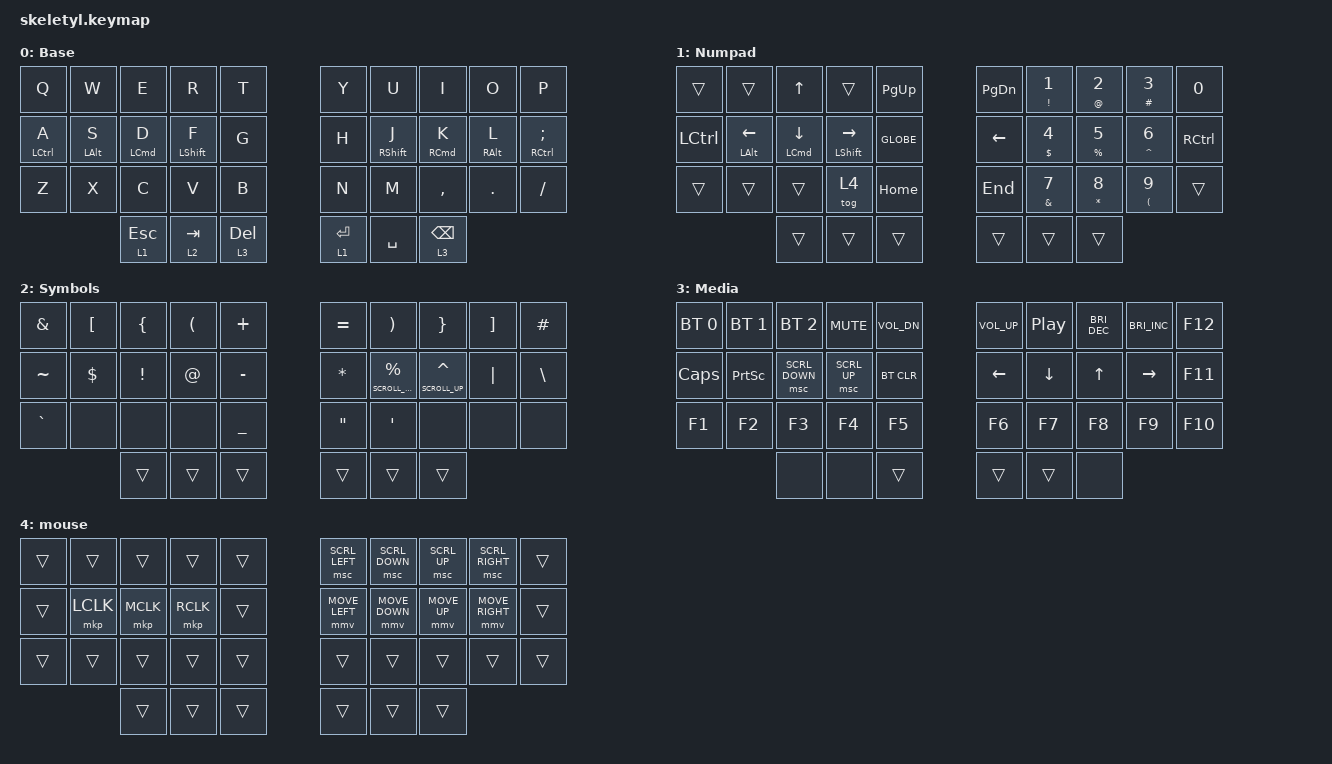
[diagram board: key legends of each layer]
#include <dt-bindings/zmk/behaviors.h>
#include <behaviors.dtsi>
#include <dt-bindings/zmk/bt.h>
#include <dt-bindings/zmk/keys.h>
#include <dt-bindings/zmk/pointing.h>

&lt {
    tapping-term-ms = <240>;
    flavor = "balanced";
    quick-tap-ms = <150>;
};

/ {
    behaviors {
        mt: mod_tap {
            compatible = "zmk,behavior-hold-tap";
            #binding-cells = <2>;
            flavor = "balanced";
            tapping-term-ms = <240>;
            quick-tap-ms = <230>;
            bindings = <&kp>, <&kp>;

            display-name = "Mod-Tap";
        };
    };

    conditional_layers { compatible = "zmk,conditional-layers"; };

    keymap {
        compatible = "zmk,keymap";

        Base {
            label = "Base";
            bindings = <
  &kp Q        &kp W       &kp E               &kp R        &kp T           &kp Y      &kp U        &kp I                &kp O       &kp P
  &mt LCTRL A  &mt LALT S  &mt LEFT_COMMAND D  &mt LSHFT F  &kp G           &kp H      &mt RSHFT J  &mt RIGHT_COMMAND K  &mt RALT L  &mt RCTRL SEMI
  &kp Z        &kp X       &kp C               &kp V        &kp B           &kp N      &kp M        &kp COMMA            &kp DOT     &kp FSLH
                           &lt 1 ESCAPE        &lt 2 TAB    &lt 3 DELETE    &lt 1 RET  &kp SPACE    &lt 3 BACKSPACE
            >;
        };

        Lower {
            label = "Numpad";
            bindings = <
  &trans            &trans         &kp UP_ARROW                 &trans           &kp PAGE_UP    &kp PAGE_DOWN  &mt EXCLAMATION NUMBER_1  &mt AT_SIGN NUMBER_2   &mt HASH NUMBER_3        &kp N0
  &kp LEFT_CONTROL  &mt LALT LEFT  &mt LEFT_COMMAND DOWN_ARROW  &mt LSHFT RIGHT  &kp GLOBE      &kp LEFT       &mt DOLLAR NUMBER_4       &mt PERCENT NUMBER_5   &mt CARET NUMBER_6       &kp RIGHT_CONTROL
  &trans            &trans         &trans                       &tog 4           &kp HOME       &kp END        &mt AMPERSAND N7          &mt ASTERISK NUMBER_8  &mt LEFT_PARENTHESIS N9  &trans
                                   &trans                       &trans           &trans         &trans         &trans                    &trans
            >;
        };

        Raise {
            label = "Symbols";
            bindings = <
  &kp AMPS   &kp LBKT  &kp LBRC  &kp LPAR  &kp PLUS     &kp EQUAL  &kp RPAR                 &kp RBRC               &kp RBKT  &kp HASH
  &kp TILDE  &kp DLLR  &kp EXCL  &kp AT    &kp MINUS    &kp STAR   &mt K_SCROLL_DOWN PRCNT  &mt K_SCROLL_UP CARET  &kp PIPE  &kp BSLH
  &kp GRAVE  &none     &none     &none     &kp UNDER    &kp DQT    &kp APOS                 &none                  &none     &none
                       &trans    &trans    &trans       &trans     &trans                   &trans
            >;
        };

        MEDIA {
            label = "Media";
            bindings = <
  &bt BT_SEL 0  &bt BT_SEL 1     &bt BT_SEL 2    &kp C_MUTE    &kp C_VOL_DN    &kp C_VOL_UP    &kp C_PLAY_PAUSE  &kp C_BRIGHTNESS_DEC  &kp C_BRIGHTNESS_INC  &kp F12
  &kp CAPS      &kp PRINTSCREEN  &msc SCRL_DOWN  &msc SCRL_UP  &bt BT_CLR      &kp LEFT_ARROW  &kp DOWN_ARROW    &kp UP_ARROW          &kp RIGHT_ARROW       &kp F11
  &kp F1        &kp F2           &kp F3          &kp F4        &kp F5          &kp F6          &kp F7            &kp F8                &kp F9                &kp F10
                                 &none           &none         &trans          &trans          &trans            &none
            >;
        };

        mouse {
            bindings = <
  &trans  &trans     &trans     &trans     &trans    &msc SCRL_LEFT  &msc SCRL_DOWN  &msc SCRL_UP  &msc SCRL_RIGHT  &trans
  &trans  &mkp LCLK  &mkp MCLK  &mkp RCLK  &trans    &mmv MOVE_LEFT  &mmv MOVE_DOWN  &mmv MOVE_UP  &mmv MOVE_RIGHT  &trans
  &trans  &trans     &trans     &trans     &trans    &trans          &trans          &trans        &trans           &trans
                     &trans     &trans     &trans    &trans          &trans          &trans
            >;
        };
    };
};
